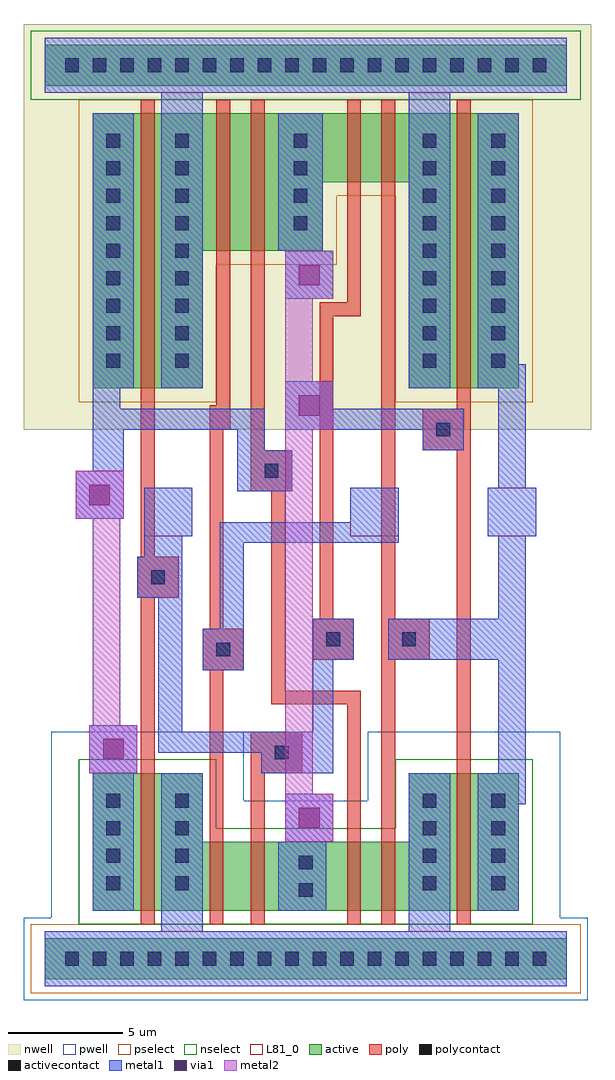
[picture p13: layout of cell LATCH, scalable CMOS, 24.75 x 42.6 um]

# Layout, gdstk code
import gdstk
lib = gdstk.Library(unit=1e-6, precision=1e-09)
def R(c, l, rs):  # rectangles x0, y0, x1, y1
    for r in rs: c.add(gdstk.rectangle(r[:2], r[2:], *l))
def A(c, l, x, y, w, h, nx, ny, dx, dy):  # array of equal rectangles
    R(c, l, [(x+i*dx, y+j*dy, x+i*dx+w, y+j*dy+h) for i in range(nx) for j in range(ny)])
pwell = (41, 0)
nwell = (42, 0)
active = (43, 0)
pselect = (44, 0)
nselect = (45, 0)
poly = (46, 0)
polycontact = (47, 0)
activecontact = (48, 0)
metal1 = (49, 0)
via1 = (50, 0)
metal2 = (51, 0)
L81_0 = (81, 0)

latch = lib.new_cell('LATCH')
R(latch, pwell, [(-1.8,-1.8,22.8,1.8), (-0.6,1.8,21.6,6.9), (-0.6,6.9,7.8,9.9), (13.2,6.9,21.6,9.9)])
R(latch, nwell, [(-1.8,23.1,22.95,40.8)])
R(latch, active, [(-0.9,-0.9,21.9,0.9), (1.2,2.1,19.8,5.1), (1.2,5.1,6,8.1), (15,5.1,19.8,8.1), (1.2,24.9,6,30.9), (15,24.9,19.8,33.9), (1.2,30.9,11.25,33.9), (1.2,33.9,19.8,36.9), (-0.9,38.1,21.9,39.9)])
R(latch, pselect, [(-1.5,-1.5,22.5,1.5), (0.6,24.3,6.6,30.3), (14.4,24.3,20.4,33.3), (0.6,30.3,11.85,33.3), (0.6,33.3,20.4,37.5)])
R(latch, nselect, [(0.6,1.5,20.4,5.7), (0.6,5.7,6.6,8.7), (14.4,5.7,20.4,8.7), (-1.5,37.5,22.5,40.5)])
R(latch, poly, [(3.3,1.5,3.9,15.75), (6.3,1.5,6.9,12.6), (8.1,1.5,8.7,8.1), (12.3,1.5,12.9,11.1), (13.8,1.5,14.4,13.05), (17.1,1.5,17.7,22.2), (8.1,8.1,10.35,9.9), (9,11.1,12.9,11.7), (9,11.7,9.6,20.4), (6,12.6,7.8,14.4), (10.8,13.05,12.6,14.85), (13.8,13.05,15.9,14.85), (6.3,14.4,6.9,23.1), (11.1,14.85,11.7,28.05), (13.8,14.85,14.4,37.5), (3.15,15.75,4.95,17.55), (3.3,17.55,3.9,37.5), (8.1,20.4,9.9,22.2), (8.1,22.2,8.7,37.5), (15.6,22.2,17.7,24), (6.3,23.1,7.2,24.15), (17.1,24,17.7,37.5), (6.6,24.15,7.2,37.5), (11.1,28.05,12.9,28.65), (12.3,28.65,12.9,37.5)])
R(latch, polycontact, [(9.15,8.7,9.75,9.3), (6.6,13.2,7.2,13.8), (11.4,13.65,12,14.25), (14.7,13.65,15.3,14.25), (3.75,16.35,4.35,16.95), (8.7,21,9.3,21.6), (16.2,22.8,16.8,23.4)])
A(latch, activecontact, 0, -0.3, 0.6, 0.6, 18, 2, 1.2, 39)
A(latch, activecontact, 1.8, 3, 0.6, 0.6, 1, 4, 0, 1.2)
A(latch, activecontact, 4.8, 3, 0.6, 0.6, 1, 4, 0, 1.2)
A(latch, activecontact, 15.6, 3, 0.6, 0.6, 1, 4, 0, 1.2)
A(latch, activecontact, 18.6, 3, 0.6, 0.6, 1, 4, 0, 1.2)
A(latch, activecontact, 1.8, 25.8, 0.6, 0.6, 1, 9, 0, 1.2)
A(latch, activecontact, 4.8, 25.8, 0.6, 0.6, 1, 9, 0, 1.2)
A(latch, activecontact, 15.6, 25.8, 0.6, 0.6, 1, 9, 0, 1.2)
A(latch, activecontact, 18.6, 25.8, 0.6, 0.6, 1, 9, 0, 1.2)
A(latch, activecontact, 9.97, 31.8, 0.6, 0.6, 1, 4, 0, 1.2)
R(latch, activecontact, [(10.2,2.7,10.8,3.3), (10.2,3.9,10.8,4.5)])
R(latch, metal1, [(-0.9,-1.2,21.9,1.2), (4.2,1.2,6,8.1), (15,1.2,16.8,8.1), (1.2,2.1,3,8.1), (9.3,2.1,11.4,5.1), (18,2.1,19.8,6.75), (9.6,5.1,11.7,7.2), (18,6.75,20.1,8.1), (1.05,8.1,3.15,10.2), (8.55,8.1,11.7,9), (18.9,8.1,20.1,13.05), (4.05,9,11.7,9.9), (4.05,9.9,5.1,15.75), (10.8,9.9,11.7,13.05), (6,12.6,7.8,14.4), (10.8,13.05,12.6,14.85), (14.1,13.05,20.1,14.85), (6.75,14.4,7.8,18.15), (18.9,14.85,20.1,18.45), (3.15,15.75,5.1,17.55), (3.45,17.55,5.1,18.45), (6.75,18.15,14.55,19.05), (3.45,18.45,5.55,20.55), (18.45,18.45,20.55,20.55), (12.45,19.05,14.55,20.55), (0.45,19.2,2.55,21.3), (7.5,20.4,9.9,22.2), (18.9,20.55,20.1,24.9), (1.2,21.3,2.55,23.1), (7.5,22.2,8.7,23.1), (15.6,22.2,17.4,23.1), (1.2,23.1,8.7,24), (9.6,23.1,17.4,24), (1.2,24,2.4,24.9), (9.6,24,11.7,25.2), (1.2,24.9,3,36.9), (4.2,24.9,6,37.8), (15,24.9,16.8,37.8), (18,24.9,20.1,25.95), (18,25.95,19.8,36.9), (9.6,28.8,11.7,30.9), (9.3,30.9,11.25,36.9), (-0.9,37.8,21.9,40.2)])
R(latch, via1, [(10.2,5.7,11.1,6.6), (1.65,8.7,2.55,9.6), (1.05,19.8,1.95,20.7), (10.2,23.7,11.1,24.6), (10.2,29.4,11.1,30.3)])
R(latch, metal2, [(9.6,5.1,11.7,7.2), (9.6,7.2,10.8,23.1), (1.05,8.1,3.15,10.2), (1.2,10.2,2.4,19.2), (0.45,19.2,2.55,21.3), (9.6,23.1,11.7,25.2), (9.6,25.2,10.8,28.8), (9.6,28.8,11.7,30.9)])
R(latch, L81_0, [(-0.9,-1.2,21.9,1.2), (3.45,18.45,5.55,20.55), (12.45,18.45,14.55,20.55), (18.45,18.45,20.55,20.55), (-0.9,37.8,21.9,40.2)])

lib.write_gds('LATCH.gds')
